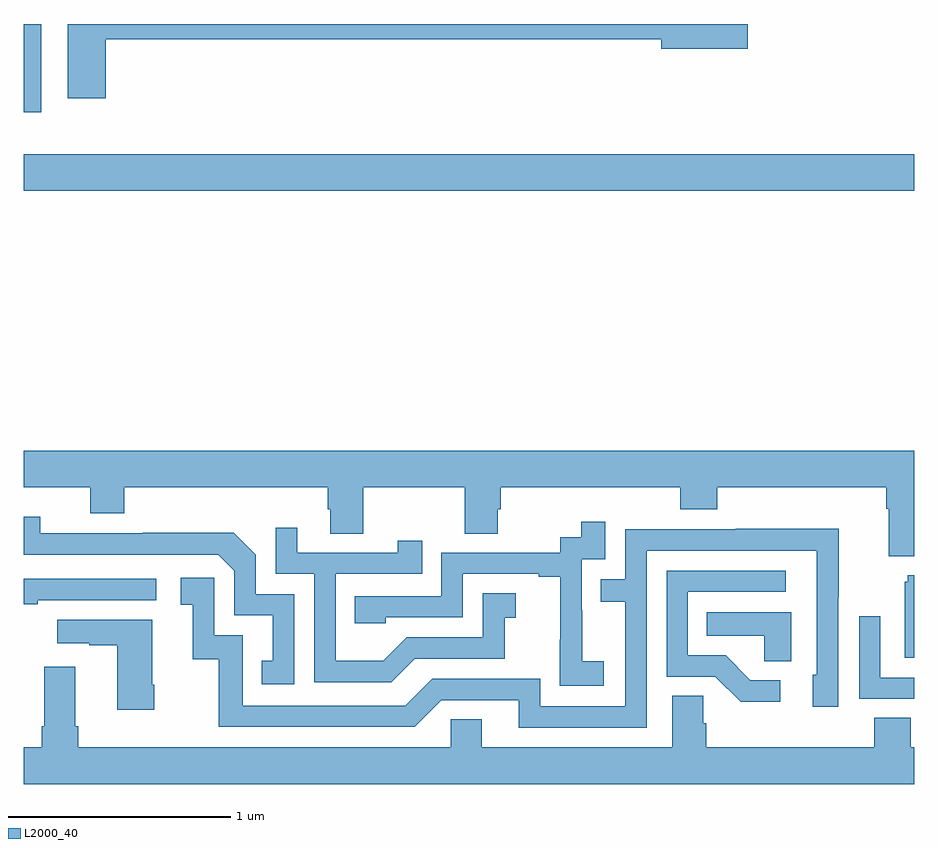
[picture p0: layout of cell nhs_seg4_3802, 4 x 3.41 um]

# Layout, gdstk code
import gdstk
lib = gdstk.Library(unit=1e-6, precision=1e-09)
def R(c, l, rs):  # rectangles x0, y0, x1, y1
    for r in rs: c.add(gdstk.rectangle(r[:2], r[2:], *l))
def P(c, l, *ps):  # polygons
    for p in ps: c.add(gdstk.Polygon(p, *l))
L2000_40 = (2000, 40)

nhs_seg4_3802 = lib.new_cell('nhs_seg4_3802')
R(nhs_seg4_3802, L2000_40, [(311,798.152,315,798.316), (311,798.504,311.079,798.9)])
P(nhs_seg4_3802, L2000_40, [(311.369,798.832),(313.862,798.832),(313.862,798.79),(314.251,798.79),(314.251,798.9),(311.198,798.9),(311.198,798.567),(311.369,798.567)],
  [(315,796.984),(311,796.984),(311,796.82),(311.3,796.82),(311.3,796.703),(311.453,796.703),(311.453,796.82),(312.365,796.82),(312.365,796.722),(312.377,796.722),(312.377,796.612),(312.525,796.612),(312.525,796.82),(312.982,796.82),(312.982,796.612),(313.129,796.612),(313.129,796.722),(313.142,796.722),(313.142,796.82),(313.949,796.82),(313.949,796.721),(314.114,796.721),(314.114,796.82),(314.873,796.82),(314.873,796.724),(314.885,796.724),(314.885,796.511),(315,796.511)],
  [(312.216,796.341),(312.042,796.341),(312.042,796.518),(311.944,796.616),(311.536,796.616),(311.536,796.614),(311.076,796.614),(311.076,796.687),(311,796.687),(311,796.518),(311.874,796.518),(311.946,796.446),(311.946,796.245),(312.119,796.245),(312.119,796.041),(312.07,796.041),(312.07,795.936),(312.216,795.936)],
  [(313.606,796.039),(313.508,796.039),(313.508,796.268),(313.506,796.268),(313.506,796.497),(313.611,796.497),(313.611,796.666),(313.503,796.666),(313.503,796.596),(313.41,796.596),(313.41,796.527),(312.876,796.527),(312.876,796.332),(312.487,796.332),(312.487,796.209),(312.627,796.209),(312.627,796.236),(312.972,796.236),(312.972,796.431),(313.313,796.431),(313.313,796.419),(313.409,796.419),(313.409,796.135),(313.408,796.135),(313.408,795.929),(313.606,795.929)],
  [(312.757,796.05),(313.161,796.05),(313.161,796.235),(313.21,796.235),(313.21,796.345),(313.062,796.345),(313.062,796.146),(312.72,796.146),(312.616,796.042),(312.402,796.042),(312.402,796.431),(312.791,796.431),(312.791,796.579),(312.68,796.579),(312.68,796.527),(312.229,796.527),(312.229,796.639),(312.132,796.639),(312.132,796.431),(312.306,796.431),(312.306,795.945),(312.652,795.945)],
  [(313.797,796.536),(314.562,796.536),(314.562,795.978),(314.543,795.978),(314.543,795.834),(314.658,795.834),(314.658,796.327),(314.661,796.327),(314.661,796.634),(314.197,796.634),(314.197,796.632),(313.701,796.632),(313.701,796.407),(313.591,796.407),(313.591,796.306),(313.701,796.306),(313.701,795.837),(313.32,795.837),(313.32,795.96),(312.834,795.96),(312.714,795.84),(311.985,795.84),(311.985,796.155),(311.856,796.155),(311.856,796.414),(311.706,796.414),(311.706,796.293),(311.759,796.293),(311.759,796.047),(311.877,796.047),(311.877,795.744),(312.756,795.744),(312.876,795.864),(313.223,795.864),(313.223,795.741),(313.797,795.741)],
  [(314.398,795.954),(314.263,795.954),(314.152,796.065),(313.983,796.065),(313.983,796.35),(314.422,796.35),(314.422,796.446),(313.887,796.446),(313.887,795.969),(314.106,795.969),(314.219,795.857),(314.398,795.857)],
  [(315,796.426),(314.969,796.426),(314.969,796.395),(314.957,796.395),(314.957,796.055),(315,796.055)],
  [(311.063,796.314),(311.596,796.314),(311.596,796.41),(311,796.41),(311,796.294),(311.063,796.294)],
  [(314.446,796.258),(314.068,796.258),(314.068,796.154),(314.325,796.154),(314.325,796.039),(314.446,796.039)],
  [(315,795.966),(314.847,795.966),(314.847,796.24),(314.751,796.24),(314.751,795.87),(315,795.87)],
  [(311.586,795.934),(311.578,795.934),(311.578,796.225),(311.151,796.225),(311.151,796.121),(311.294,796.121),(311.294,796.111),(311.42,796.111),(311.42,795.822),(311.586,795.822)],
  [(315,795.652),(314.984,795.652),(314.984,795.785),(314.819,795.785),(314.819,795.652),(314.066,795.652),(314.066,795.761),(314.052,795.761),(314.052,795.884),(313.913,795.884),(313.913,795.652),(313.057,795.652),(313.057,795.779),(312.918,795.779),(312.918,795.652),(311.246,795.652),(311.246,795.748),(311.233,795.748),(311.233,796.015),(311.093,796.015),(311.093,795.748),(311.081,795.748),(311.081,795.652),(311,795.652),(311,795.488),(315,795.488)])

lib.write_gds('nhs_seg4_3802.gds')
